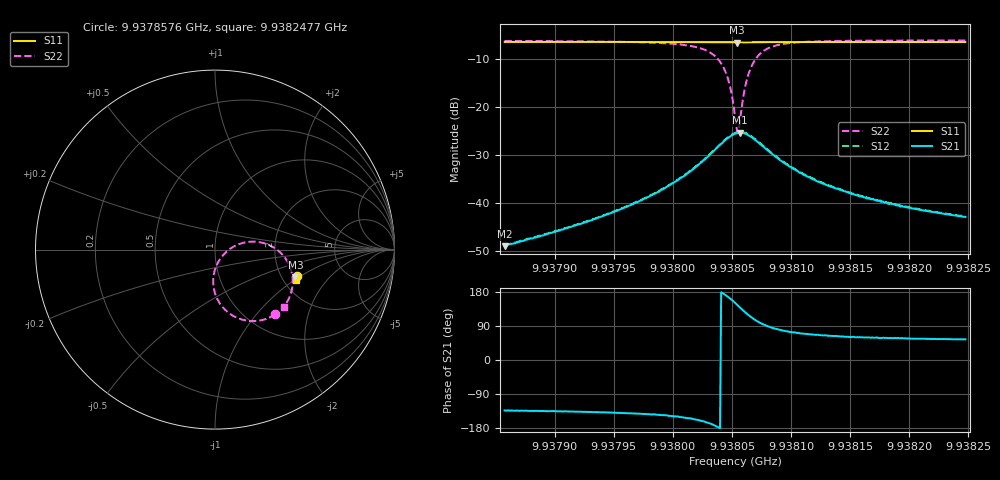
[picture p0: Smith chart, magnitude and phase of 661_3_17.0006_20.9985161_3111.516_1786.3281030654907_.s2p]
#  HZ  S  RI  R  50.00
! Rohde & Schwarz Vector Network Analyzer
! Rohde-Schwarz,ZNB20-2Port,1311601062101988,3.16
! Created: UTC 3/20/2024, 11:21:46 PM
! freq[Hz]  re:S11  im:S11  re:S21  im:S21  re:S12  im:S12  re:S22  im:S22
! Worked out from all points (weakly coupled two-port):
!   401 points, 9.9378576 GHz to 9.9382477 GHz, reference 50 ohm
!   highest |S21| = -25.31 dB at 9.9380565 GHz (marker M1); lowest = -49.0 dB at 9.9378576 GHz (marker M2)
!   lowest |S11| = -6.5 dB at 9.9380546 GHz (marker M3), VSWR 2.80, Z = 118 - j47.1 ohm
!   |S11| at or under -10 dB: nowhere
!   |S22| runs from -25.1 to -6.1 dB; largest |S21 - S12| = 0.0016
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9.93785763e9  0.4589 -0.1447  -0.00243 -0.0026  -0.00255 -0.00258  0.3367 -0.3599
9.93792296e9  0.457 -0.1493  -0.00447 -0.00423  -0.00459 -0.00422  0.315 -0.3727
9.93795903e9  0.4558 -0.1519  -0.00687 -0.00577  -0.00705 -0.00573  0.2917 -0.3834
9.93798829e9  0.4546 -0.1541  -0.0107 -0.00752  -0.0112 -0.00761  0.2558 -0.3942
9.93801949e9  0.4524 -0.1565  -0.022 -0.00917  -0.0226 -0.00927  0.1631 -0.3932
9.93803607e9  0.4503 -0.1574  -0.0363 -0.00415  -0.0368 -0.00393  0.0553 -0.3343
9.93804192e9  0.4492 -0.1572  -0.0424 0.00226  -0.0434 0.00286  0.012 -0.2737
9.93804582e9  0.4487 -0.1567  -0.0461 0.00918  -0.0468 0.00976  -0.00709 -0.2137
9.93804972e9  0.4482 -0.156  -0.0474 0.0182  -0.0483 0.0191  -0.00681 -0.1395
9.93805264e9  0.448 -0.1551  -0.0463 0.0256  -0.0471 0.0269  0.0128 -0.0794
9.93805459e9  0.448 -0.1546  -0.0443 0.0306  -0.045 0.0319  0.0356 -0.0423
9.93805654e9  0.4484 -0.1542  -0.0413 0.0352  -0.042 0.0366  0.0661 -0.0103
9.93806044e9  0.4489 -0.1534  -0.0331 0.0419  -0.0334 0.0434  0.1425 0.0335
9.93806337e9  0.4497 -0.1533  -0.0262 0.0445  -0.0259 0.046  0.2034 0.0443
9.93806727e9  0.4507 -0.1532  -0.0173 0.045  -0.0168 0.0463  0.2765 0.0348
9.93807214e9  0.4516 -0.1535  -0.00821 0.0424  -0.00784 0.0435  0.3439 0.00045
9.93807897e9  0.4523 -0.1546  -0.000448 0.0367  0.000139 0.0374  0.3981 -0.0577
9.93808774e9  0.4531 -0.1557  0.00424 0.0298  0.00496 0.0302  0.426 -0.1213
9.93811797e9  0.4528 -0.1591  0.00688 0.0166  0.00742 0.0167  0.4264 -0.2321
9.93814917e9  0.4519 -0.1618  0.00623 0.0111  0.00645 0.0113  0.4105 -0.2751
9.9381833e9  0.4509 -0.1644  0.00522 0.00827  0.00543 0.00842  0.3976 -0.2982
9.93824766e9  0.4491 -0.1687  0.00417 0.00585  0.00435 0.00585  0.382 -0.3194
